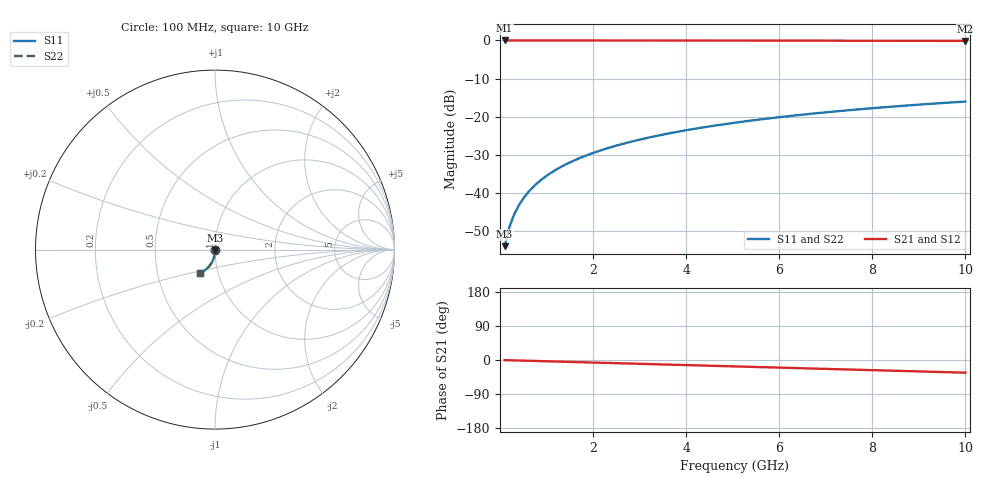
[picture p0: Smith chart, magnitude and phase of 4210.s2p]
# Hz S RI R 50.00
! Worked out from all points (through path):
!   100 points, 100 MHz to 10 GHz, reference 50 ohm
!   highest |S21| = -0.01 dB at 100 MHz (marker M1); lowest = -0.1 dB at 10 GHz (marker M2)
!   group delay of S21, straight-line fit = 9.3 ps
!   lowest |S11| = -54.0 dB at 100 MHz (marker M3), VSWR 1.00, Z = 50.1 - j0.168 ohm
!   |S11| at or under -10 dB: start of sweep to end of sweep
!   |S22| runs from -54.0 to -16.0 dB; largest |S21 - S12| = 0
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1e8  0.00109 -0.00168  0.9989 -0.00584  0.9989 -0.00584  0.00109 -0.00168
2e8  0.00107 -0.00335  0.9988 -0.0117  0.9988 -0.0117  0.00107 -0.00335
3e8  0.00102 -0.00503  0.9987 -0.0175  0.9987 -0.0175  0.00102 -0.00503
4e8  0.000951 -0.0067  0.9986 -0.0234  0.9986 -0.0234  0.000951 -0.0067
5e8  0.000864 -0.00838  0.9984 -0.0292  0.9984 -0.0292  0.000864 -0.00838
6e8  0.000756 -0.0101  0.9982 -0.035  0.9982 -0.035  0.000756 -0.0101
7e8  0.000628 -0.0117  0.9979 -0.0409  0.9979 -0.0409  0.000628 -0.0117
8e8  0.000481 -0.0134  0.9977 -0.0467  0.9977 -0.0467  0.000481 -0.0134
9e8  0.000314 -0.0151  0.9973 -0.0525  0.9973 -0.0525  0.000314 -0.0151
1.1e9  -7.9e-05 -0.0184  0.9966 -0.0642  0.9966 -0.0642  -7.9e-05 -0.0184
1.4e9  -0.000815 -0.0234  0.9952 -0.0817  0.9952 -0.0817  -0.000815 -0.0234
1.8e9  -0.00207 -0.03  0.9928 -0.1049  0.9928 -0.1049  -0.00207 -0.03
2.1e9  -0.00321 -0.0349  0.9906 -0.1223  0.9906 -0.1223  -0.00321 -0.0349
2.5e9  -0.005 -0.0414  0.9872 -0.1454  0.9872 -0.1454  -0.005 -0.0414
2.9e9  -0.00709 -0.0477  0.9832 -0.1684  0.9832 -0.1684  -0.00709 -0.0477
3.4e9  -0.0101 -0.0556  0.9774 -0.197  0.9774 -0.197  -0.0101 -0.0556
4.2e9  -0.0159 -0.0677  0.9663 -0.2423  0.9663 -0.2423  -0.0159 -0.0677
5.1e9  -0.0237 -0.0807  0.9511 -0.2925  0.9511 -0.2925  -0.0237 -0.0807
5.9e9  -0.0318 -0.0914  0.9352 -0.3362  0.9352 -0.3362  -0.0318 -0.0914
6.7e9  -0.0408 -0.1014  0.9173 -0.379  0.9173 -0.379  -0.0408 -0.1014
8.4e9  -0.0628 -0.1195  0.8724 -0.4664  0.8724 -0.4664  -0.0628 -0.1195
1e10  -0.0862 -0.1322  0.8224 -0.5434  0.8224 -0.5434  -0.0862 -0.1322
